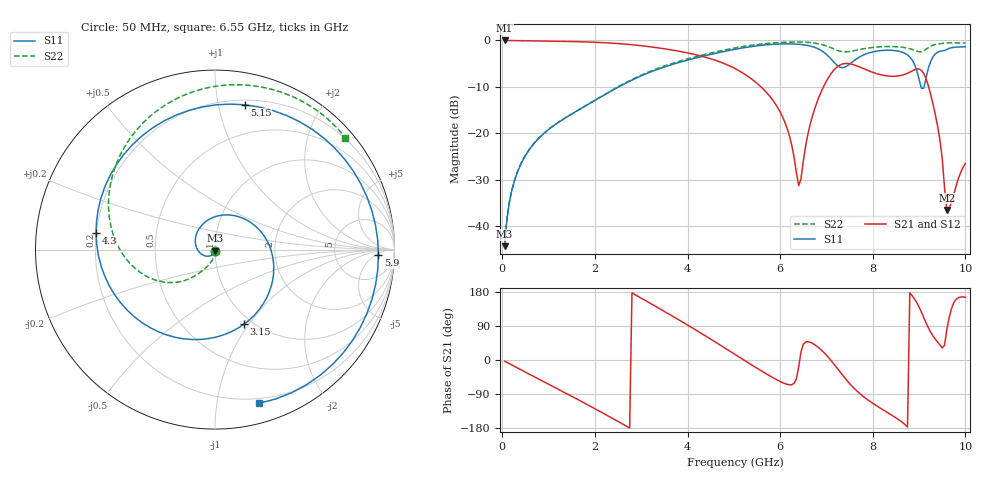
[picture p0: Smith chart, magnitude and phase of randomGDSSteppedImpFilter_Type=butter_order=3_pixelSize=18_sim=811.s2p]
! freq	dB(S11)	phase(S11)	dB(S12)	phase(S12)
!  dB(S21)	phase(S21)	dB(S22)	phase(S22)
!S-par simulation data
#  GHz  S  DB  R 50
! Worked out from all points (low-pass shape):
!   200 points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, 50 MHz to 10 GHz, reference 50 ohm
!   highest |S21| = -0.01 dB at 50 MHz (marker M1); lowest = -36.6 dB at 9.6 GHz (marker M2)
!   |S21| within 3 dB of the highest: start of sweep to 4.145 GHz
!   lowest |S11| = -44.4 dB at 50 MHz (marker M3), VSWR 1.01, Z = 50 - j0.605 ohm
!   |S11| at or under -10 dB: start of sweep to 2.516 GHz; 9.041 GHz to 9.107 GHz (65.35 MHz wide, 0.72 % of centre)
!   |S22| runs from -44.3 to -0.3 dB; largest |S21 - S12| = 0
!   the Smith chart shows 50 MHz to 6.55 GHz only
!   S11 on the Smith chart (normalised r, x): 50 MHz: 1.00, -0.01; 3.15 GHz: 0.91, -0.95; 4.3 GHz: 0.20, +0.07; 5.15 GHz: 0.24, +1.20; 5.9 GHz: 19, -7; 6.55 GHz: 0.16, -1.31
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0.05  -44.36 -90.7  -0.01 -3.2  -0.01 -3.2  -44.31 -86.8
0.45  -25.71 -134.9  -0.05 -28.6  -0.05 -28.6  -25.61 -102.5
1.75  -14.38 82.9  -0.30 -112.0  -0.30 -112.0  -14.36 -128.4
2.5  -10.09 -1.1  -0.68 -162.3  -0.68 -162.3  -9.99 -144.6
3.15  -7.01 -68.9  -1.32 152.9  -1.32 152.9  -6.84 -166.5
3.4  -6.07 -94.3  -1.65 135.3  -1.65 135.3  -5.87 -176.1
4.3  -3.49 172.2  -3.38 70.2  -3.38 70.2  -3.20 147.0
5.05  -1.87 89.4  -6.20 12.7  -6.20 12.7  -1.57 113.7
5.15  -1.69 78.4  -6.76 5.0  -6.76 5.0  -1.39 109.0
5.9  -0.81 -1.8  -13.75 -50.3  -13.75 -50.3  -0.50 72.8
6.4  -0.83 -55.8  -31.31 -18.6  -31.31 -18.6  -0.34 48.2
6.55  -1.00 -74.2  -22.77 47.5  -22.77 47.5  -0.39 40.7
6.7  -1.34 -95.0  -16.21 43.8  -16.21 43.8  -0.51 33.1
7.05  -3.50 -164.4  -7.90 5.9  -7.90 5.9  -1.39 16.6
7.35  -5.88 92.9  -5.07 -40.4  -5.07 -40.4  -2.42 10.6
7.75  -3.37 -13.4  -5.88 -91.7  -5.88 -91.7  -1.89 4.0
8.35  -2.11 -87.4  -7.70 -140.9  -7.70 -140.9  -1.32 -16.8
8.85  -4.20 -159.1  -6.59 169.9  -6.59 169.9  -1.94 -33.3
9.05  -10.34 101.7  -6.43 126.4  -6.43 126.4  -2.44 -32.6
9.2  -6.01 -19.7  -9.78 84.9  -9.78 84.9  -1.53 -32.3
9.6  -1.94 -104.5  -36.57 80.8  -36.57 80.8  -0.52 -48.3
10  -1.37 -142.4  -26.49 165.7  -26.49 165.7  -0.57 -61.8
